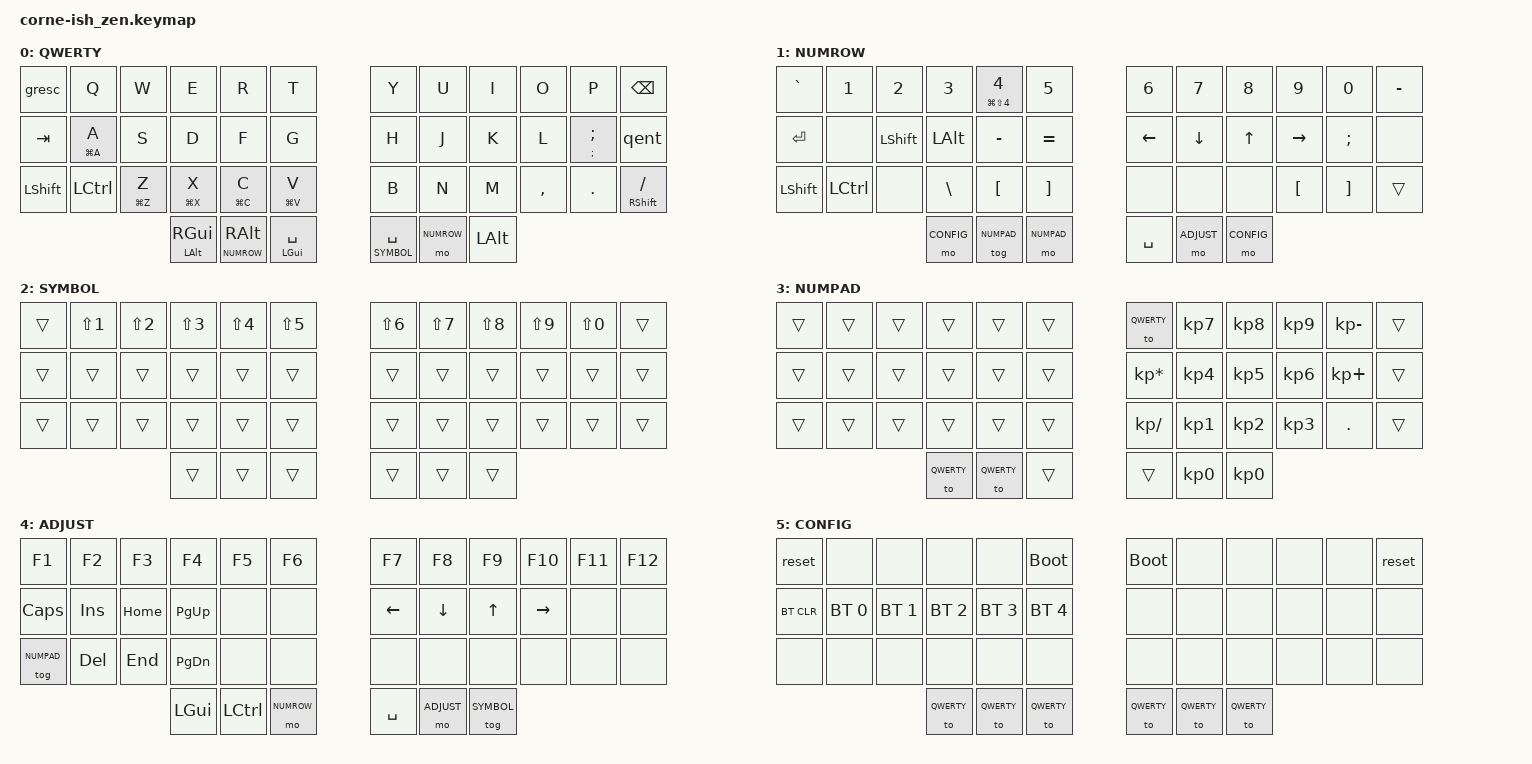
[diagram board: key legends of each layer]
/*
*
* Copyright (c) 2021 lowprokb.ca
* SPDX-License-Identifier: MIT
*
*   [KJH] = COMBO(kjh_combo, LALT(KC_LEFT)),
*   [KLK] = COMBO(klk_combo, LALT(KC_RIGHT)),
*   [KCJKL] = COMBO(kcjkl_combo, LCTL(KC_E)),
*   [KCHJK] = COMBO(kchjk_combo, LCTL(KC_A)),
*
*/

#include <behaviors.dtsi>
#include <dt-bindings/zmk/keys.h>
#include <dt-bindings/zmk/bt.h>

#define QWERTY 0
#define NUMROW 1
#define SYMBOL 2
#define NUMPAD 3
#define ADJUST 4
#define CONFIG 5

/ {
    combos {
        compatible = "zmk,combos";
        combo_hj {
            timeout-ms = <50>;
            key-positions = <18 19>;
            bindings = <&kp LA(LEFT)>;
        };
        combo_kl {
            timeout-ms = <50>;
            key-positions = <20 21>;
            bindings = <&kp LA(RIGHT)>;
        };
        combo_hjk {
            timeout-ms = <50>;
            key-positions = <18 19 20>;
            bindings = <&kp LC(A)>;
        };
        combo_jkl {
            timeout-ms = <50>;
            key-positions = <19 20 21>;
            bindings = <&kp LC(E)>;
        };
        combo_89 {
            timeout-ms = <50>;
            key-positions = <8 9>;
            bindings = <&kp LS(N9)>;
        };
        combo_90 {
            timeout-ms = <50>;
            key-positions = <9 10>;
            bindings = <&kp LS(N0)>;
        };
        combo_9bs {
            timeout-ms = <50>;
            key-positions = <10 11>;
            bindings = <&kp EQUAL>;
        };
        combo_bsent {
            timeout-ms = <50>;
            key-positions = <11 23>;
            bindings = <&kp BSLH>;
        };
        combo_df {
            timeout-ms = <50>;
            key-positions = <15 16>;
            bindings = <&kp LG(F)>;
        };
    };
    behaviors {
        mt_: custom_mod_tap {
            compatible = "zmk,behavior-hold-tap";
            label = "MOD_TAP";
            #binding-cells = <2>;
            flavor = "tap-preferred";
            tapping-term-ms = <300>;
            quick_tap_ms = <500>;
            bindings = <&kp>, <&kp>;
        };
        mtgui_: custom_mod_tap {
            compatible = "zmk,behavior-hold-tap";
            label = "MOD_TAP_HOLD";
            #binding-cells = <2>;
            flavor = "hold-preferred";
            tapping-term-ms = <100>;
            quick_tap_ms = <200>;
            bindings = <&kp>, <&kp>;
        };
        lt_: custom_layer_tap {
            compatible = "zmk,behavior-hold-tap";
            label = "LAYER_TAP";
            #binding-cells = <2>;
            flavor = "balanced";
            tapping-term-ms = <500>;
            quick_tap_ms = <200>;
            bindings = <&mo>, <&kp>;
        };
        gresc: grave_escape {
            compatible = "zmk,behavior-mod-morph";
            label = "GRAVE_ESCAPE";
            #binding-cells = <0>;
            bindings = <&kp ESC>, <&kp GRAVE>;
            mods = <(MOD_LGUI|MOD_LSFT|MOD_RGUI|MOD_RSFT)>;
        };
        qent: quote_enter {
            compatible = "zmk,behavior-mod-morph";
            label = "QUOTE_ENTER";
            #binding-cells = <0>;
            bindings = <&kp ENTER>, <&kp LS(APOS)>;
            mods = <(MOD_LSFT)>;
        };
        shtqcolon: quote_colon {
            compatible = "zmk,behavior-mod-morph";
            label = "QUOTE_COLON";
            #binding-cells = <0>;
            bindings = <&kp APOS>, <&kp LS(SEMI)>;
            mods = <(MOD_LSFT|MOD_RSFT)>;
        };
        ht: holdtap {
            compatible = "zmk,behavior-hold-tap";
            label = "HOLDTAP";
            #binding-cells = <2>;
            tapping-term-ms = <300>;
            quick_tap_ms = <0>;
            flavor = "tap-preferred";
            bindings = <&kp>, <&kp>;
        };
        htsemi: hotldtapsemi {
            compatible = "zmk,behavior-hold-tap";
            label = "HOLDTAPSEMI";
            #binding-cells = <2>;
            tapping-term-ms = <300>;
            quick_tap_ms = <0>;
            flavor = "tap-preferred";
            bindings = <&kp>, <&shtqcolon>;
        };
    };

        keymap {
                compatible = "zmk,keymap";

                default_layer {
                        label = "QWERTY";
                        bindings = <
   &gresc   &kp Q &kp W &kp E &kp R &kp T      &kp Y &kp U &kp I    &kp O   &kp P    &kp BKSP
   &kp TAB  &ht LG(A) A &kp S &kp D &kp F &kp G      &kp H &kp J &kp K    &kp L   &htsemi SEMI SEMI &qent
   &kp LSHFT &kp LCTL &ht LG(Z) Z  &ht LG(X) X  &ht LG(C) C &ht LG(V) V   &kp B &kp N &kp M &kp CMMA &kp DOT &mt RSHIFT FSLH
              &mt_ LALT RGUI &lt_ NUMROW RALT &mtgui_ LGUI SPC     &lt_ SYMBOL SPC &mo NUMROW &kp LALT
                        >;  
                };

                numrow_layer {
                        label = "NUMROW";
                        bindings = <
   &kp GRAVE   &kp N1 &kp N2 &kp N3    &ht LG(LS(N4)) N4    &kp N5       &kp N6   &kp N7   &kp N8 &kp N9    &kp N0   &kp MINUS
   &kp ENTER &none  &kp LSHFT  &kp LALT &kp MINUS &kp EQUAL    &kp LEFT &kp DOWN &kp UP &kp RIGHT &kp SEMI &none
   &kp LSHFT &kp LCTL &none  &kp BSLH  &kp LBKT  &kp RBKT     &none    &none    &none  &kp LBKT  &kp RBKT    &trans
                          &mo CONFIG &tog NUMPAD &mo NUMPAD    &kp SPC &mo ADJUST &mo CONFIG
                        >;
                };

                symbol {
                        label = "SYMBOL";
                        bindings = <
   &trans &kp LS(N1) &kp LS(N2) &kp LS(N3) &kp LS(N4) &kp LS(N5)    &kp LS(N6) &kp LS(N7) &kp LS(N8) &kp LS(N9) &kp LS(N0) &trans
   &trans &trans &trans &trans &trans &trans    &trans &trans &trans &trans &trans &trans
   &trans &trans &trans &trans &trans &trans    &trans &trans &trans &trans &trans &trans
               &trans &trans &trans    &trans &trans &trans
                        >;
                };

                numpad_layer {
                        label = "NUMPAD";
                        bindings = < 
   &trans &trans &trans &trans &trans &trans    &to QWERTY    &kp KP_N7 &kp KP_N8 &kp KP_N9 &kp KP_MINUS &trans
   &trans &trans &trans &trans &trans &trans    &kp KP_ASTERISK &kp KP_N4 &kp KP_N5 &kp KP_N6 &kp KP_PLUS  &trans
   &trans &trans &trans &trans &trans &trans    &kp KP_SLASH    &kp KP_N1 &kp KP_N2 &kp KP_N3 &kp DOT &trans
                        &to QWERTY &to QWERTY &trans    &trans &kp KP_N0 &kp KP_N0
                        >;
                };

                adjust_layer {
                        label = "ADJUST";
                        bindings = <
   &kp F1      &kp F2  &kp F3   &kp F4    &kp F5 &kp F6    &kp F7   &kp F8   &kp F9 &kp F10   &kp F11 &kp F12
   &kp CAPS    &kp INS &kp HOME &kp PG_UP &none  &none     &kp LEFT &kp DOWN &kp UP &kp RIGHT &none   &none
   &tog NUMPAD &kp DEL &kp END  &kp PG_DN &none  &none     &none    &none    &none  &none     &none   &none
                           &kp LGUI &kp LCTL &mo NUMROW    &kp SPC &mo ADJUST &tog SYMBOL
                        >;
                };

                config_layer {
                        label = "CONFIG";
                        bindings = <
   &reset     &none        &none        &none        &none        &bootloader           &bootloader &none &none &none &none &reset 
   &bt BT_CLR &bt BT_SEL 0 &bt BT_SEL 1 &bt BT_SEL 2 &bt BT_SEL 3 &bt BT_SEL 4    &none &none &none &none &none &none
   &none      &none        &none        &none        &none        &none           &none &none &none &none &none &none
                                                &to QWERTY &to QWERTY &to QWERTY    &to QWERTY &to QWERTY &to QWERTY
                        >;
                };
        };
};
